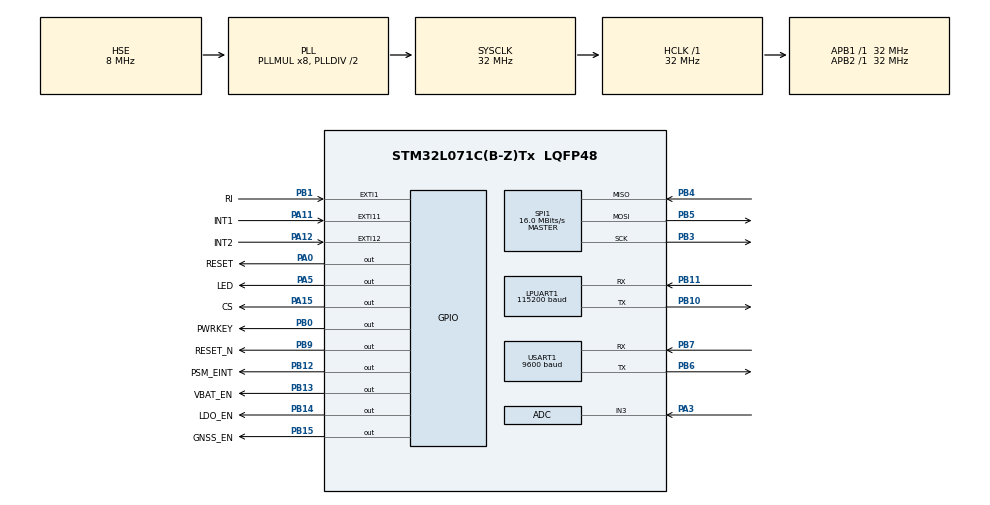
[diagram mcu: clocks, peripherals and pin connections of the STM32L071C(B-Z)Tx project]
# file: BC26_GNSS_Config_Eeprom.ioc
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ADC.ContinuousConvMode=DISABLE
ADC.DMAContinuousRequests=DISABLE
ADC.EOCSelection=ADC_EOC_SINGLE_CONV
ADC.SamplingTime=ADC_SAMPLETIME_160CYCLES_5
Dma.Request0=USART1_RX
Dma.USART1_RX.0.Direction=DMA_PERIPH_TO_MEMORY
Dma.USART1_RX.0.Instance=DMA1_Channel3
Dma.USART1_RX.0.MemDataAlignment=DMA_MDATAALIGN_BYTE
Dma.USART1_RX.0.MemInc=DMA_MINC_ENABLE
Dma.USART1_RX.0.Mode=DMA_CIRCULAR
Dma.USART1_RX.0.PeriphDataAlignment=DMA_PDATAALIGN_BYTE
Dma.USART1_RX.0.PeriphInc=DMA_PINC_DISABLE
Dma.USART1_RX.0.Priority=DMA_PRIORITY_LOW
IWDG.Prescaler=IWDG_PRESCALER_256
LPTIM1.ClockPrescaler=LPTIM_PRESCALER_DIV128
LPUART1.BaudRate=115200
LPUART1.WordLength=UART_WORDLENGTH_8B
Mcu.Family=STM32L0
Mcu.Name=STM32L071C(B-Z)Tx
Mcu.Package=LQFP48
NVIC.ADC1_COMP_IRQn=true\:1\:0\:true\:false\:true\:true\:true
NVIC.DMA1_Channel2_3_IRQn=true\:0\:0\:false\:false\:true\:false\:true
NVIC.EXTI4_15_IRQn=true\:1\:0\:true\:false\:true\:true\:true
NVIC.LPTIM1_IRQn=true\:0\:0\:false\:false\:true\:true\:true
NVIC.LPUART1_IRQn=true\:0\:0\:false\:false\:true\:true\:true
NVIC.RTC_IRQn=true\:2\:0\:true\:false\:true\:true\:true
NVIC.USART1_IRQn=true\:0\:0\:true\:false\:true\:true\:true
PA0.GPIO_Label=RESET
PA0.Signal=GPIO_Output
PA11.GPIO_Label=INT1
PA11.Signal=GPXTI11
PA12.GPIO_Label=INT2
PA12.Signal=GPXTI12
PA13.Mode=Serial_Wire
PA13.Signal=SYS_SWDIO
PA14.Mode=Serial_Wire
PA14.Signal=SYS_SWCLK
PA15.GPIO_Label=CS
PA15.Signal=GPIO_Output
PA3.Mode=IN3
PA3.Signal=ADC_IN3
PA5.GPIO_Label=LED
PA5.Signal=GPIO_Output
PB0.GPIO_Label=PWRKEY
PB0.Signal=GPIO_Output
PB1.GPIO_Label=RI
PB1.Signal=GPXTI1
PB10.Mode=Asynchronous
PB10.Signal=LPUART1_TX
PB11.Mode=Asynchronous
PB11.Signal=LPUART1_RX
PB12.GPIO_Label=PSM_EINT
PB12.Signal=GPIO_Output
PB13.GPIO_Label=VBAT_EN
PB13.Signal=GPIO_Output
PB14.GPIO_Label=LDO_EN
PB14.Signal=GPIO_Output
PB15.GPIO_Label=GNSS_EN
PB15.Signal=GPIO_Output
PB3.Mode=Full_Duplex_Master
PB3.Signal=SPI1_SCK
PB4.Mode=Full_Duplex_Master
PB4.Signal=SPI1_MISO
PB5.Mode=Full_Duplex_Master
PB5.Signal=SPI1_MOSI
PB6.Mode=Asynchronous
PB6.Signal=USART1_TX
PB7.Mode=Asynchronous
PB7.Signal=USART1_RX
PB9.GPIO_Label=RESET_N
PB9.Signal=GPIO_Output
PC14-OSC32_IN.Mode=LSE-External-Oscillator
PC14-OSC32_IN.Signal=RCC_OSC32_IN
PC15-OSC32_OUT.Mode=LSE-External-Oscillator
PC15-OSC32_OUT.Signal=RCC_OSC32_OUT
PH0-OSC_IN.Mode=HSE-External-Oscillator
PH0-OSC_IN.Signal=RCC_OSC_IN
PH1-OSC_OUT.Mode=HSE-External-Oscillator
PH1-OSC_OUT.Signal=RCC_OSC_OUT
ProjectManager.HeapSize=0xC00
ProjectManager.StackSize=0x1000
ProjectManager.TargetToolchain=MDK-ARM V5.27
RCC.AHBFreq_Value=32000000
RCC.APB1Freq_Value=32000000
RCC.APB1TimFreq_Value=32000000
RCC.APB2Freq_Value=32000000
RCC.APB2TimFreq_Value=32000000
RCC.HCLKFreq_Value=32000000
RCC.HSE_VALUE=8000000
RCC.HSI16_VALUE=16000000
RCC.HSI_VALUE=16000000
RCC.LptimClockSelection=RCC_LPTIM1CLKSOURCE_LSE
RCC.MSI_VALUE=2097000
RCC.PLLMUL=RCC_PLLMUL_8
RCC.PLLSourceVirtual=RCC_PLLSOURCE_HSE
RCC.RTCClockSelection=RCC_RTCCLKSOURCE_LSE
RCC.RTCClockSelectionVirtual=RCC_RTCCLKSOURCE_LSE
RCC.SYSCLKFreq_VALUE=32000000
RCC.SYSCLKSource=RCC_SYSCLKSOURCE_PLLCLK
RCC.VCOOutputFreq_Value=64000000
RTC.Format=RTC_FORMAT_BIN
RTC.WakeUpCounter-WakeUp=0x8000
SPI1.BaudRatePrescaler=SPI_BAUDRATEPRESCALER_2
SPI1.CalculateBaudRate=16.0 MBits/s
SPI1.Direction=SPI_DIRECTION_2LINES
SPI1.Mode=SPI_MODE_MASTER
SPI1.VirtualType=VM_MASTER
USART1.AutoBaudRateEnableParam=UART_ADVFEATURE_AUTOBAUDRATE_DISABLE
USART1.BaudRate=9600
USART1.OverrunDisableParam=ADVFEATURE_OVERRUN_ENABLE
USART1.VirtualMode-Asynchronous=VM_ASYNC
VP_IWDG_VS_IWDG.Mode=IWDG_Activate
VP_LPTIM1_VS_LPTIM_counterModeInternalClock.Mode=Counts__internal_clock_event_00
VP_RTC_VS_RTC_Activate.Mode=RTC_Enabled
VP_RTC_VS_RTC_Calendar.Mode=RTC_Calendar
VP_RTC_VS_RTC_WakeUp_intern.Mode=WakeUp
board=custom

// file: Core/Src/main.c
/* USER CODE BEGIN Header */
/**
  ******************************************************************************
  * @file           : main.c
  * @brief          : Main program body
  ******************************************************************************
  * @attention
  *
  * <h2><center>&copy; Copyright (c) 2021 STMicroelectronics.
  * All rights reserved.</center></h2>
  *
  * This software component is licensed by ST under BSD 3-Clause license,
  * the "License"; You may not use this file except in compliance with the
  * License. You may obtain a copy of the License at:
  *                        opensource.org/licenses/BSD-3-Clause
  *
  ******************************************************************************
  */
/* USER CODE END Header */
#include "main.h"
#include "adc.h"
#include "dma.h"
#include "iwdg.h"
#include "lptim.h"
#include "usart.h"
#include "rtc.h"
#include "spi.h"
#include "gpio.h"

/* USER CODE BEGIN Includes */
#include "adxl362.h"
#include "nbiot.h"
#include "gnss.h"
/* USER CODE END Includes */

/* USER CODE BEGIN PV */
uint8_t ErrorIndex;
/* USER CODE END PV */

void SystemClock_Config(void);
/* USER CODE BEGIN PFP */
static void SystemPower_Config(void);
/* USER CODE END PFP */

int main(void)
{

  /* MCU Configuration--------------------------------------------------------*/

  /* Reset of all peripherals, Initializes the Flash interface and the Systick. */
  HAL_Init();

  /* Configure the system clock */
  SystemClock_Config();

  /* Initialize all configured peripherals */
  MX_GPIO_Init();
  MX_DMA_Init();
  MX_LPTIM1_Init();
  MX_LPUART1_UART_Init();
  MX_USART1_UART_Init();
  MX_SPI1_Init();
  MX_IWDG_Init();
  MX_ADC_Init();
  MX_RTC_Init();
  /* USER CODE BEGIN 2 */
	System_Initial();
  /* USER CODE END 2 */

  /* Infinite loop */
  /* USER CODE BEGIN WHILE */
  while (1)
  {
		LL_IWDG_ReloadCounter(IWDG);
		#if (_NBIOT_SET_DEVINFO_USART == 1)
		gps_init(&gps);
    gps_delay(100);
		set_deviceInfo();
		memset(gps.rxBuffer,0,sizeof(gps.rxBuffer));
		gps.rxCounter = 0x00;
		gps.rxIndex = false;
		led_tog();
		#endif
		if (lptim.wakeupIndex == SET)
		{
			if (transProcessNum == 0){
				adc_process();
				gps_process();
			}
			gnss_status.gnss_data_ready = true;
			transProcessNum ++;
			lptim.wakeupIndex = RESET;
		}
		if (freeFallDetection == SET)
		{
			if (transProcessNum == 0){
				adc_process();
				gps_process();
			}
			freefall_status.freefall_data_ready = true;
			transProcessNum ++;
			freeFallDetection = RESET;
		}
		if (lptim.twoHourIndex == SET)
		{
			if (transProcessNum == 0)
				adc_process();
			pregant_status.pregnant_data_ready = true;
			transProcessNum ++;
			lptim.twoHourIndex = RESET;
		}
		LL_IWDG_ReloadCounter(IWDG);
		if (transProcessNum != 0)
			if (nbiot_process() == false)
			{
				nbiot.restart++;
				nbiot_clean();
				nbiot_power(false);
			}
		if (nbiot.restart == 6)
		{
			memset(&gnss_status, 0, sizeof(gnss_status));
			memset(&pregant_status, 0, sizeof(pregant_status));
			memset(&freefall_status, 0, sizeof(freefall_status));
			transProcessNum = 0;
			nbiot_erase();
		}
		if (freefall_status.freefall_trans_success == true)
		{
			memset(&freefall_status, 0, sizeof(freefall_status));
			transProcessNum --;
			if (transProcessNum == 0)
				nbiot_erase();
		}
		if (gnss_status.gnss_trans_success == true)
		{
			memset(&gnss_status, 0, sizeof(gnss_status));
			transProcessNum --;
			if (transProcessNum == 0)
				nbiot_erase();
		}
		if (pregant_status.acc_trans == ((step.acc.accIndex >> 5) + 1))
		{
			memset(&pregant_status, 0, sizeof(pregant_status));
			memset(&step.acc, 0, sizeof(step.acc));
			transProcessNum --;
			if (transProcessNum == 0)
				nbiot_erase();
		}
		if (lptim.twentyMinuteIndex == SET)
		{
			step.stepArray[step.stepStage] = step.stepNum;
/**
	*	for(uint8_t i=0; i < STEP_LOOPNUM; i++)
	*		nbiot_printf("%d ",step.stepArray[i]);
	*	nbiot_printf("\n");
	*	nbiot_printf("step.stepStage = %d\n",step.stepStage);
	*/
			DATAEEPROM_Program((EEPROM_START_ADDR+100+4*step.stepStage), (uint32_t)step.stepArray[step.stepStage]);
			step.stepNum = 0;
			if(step.stepStage == (STEP_LOOPNUM - 1))
				step.stepStage = 0;
			else
				step.stepStage++;
			DATAEEPROM_Program((EEPROM_START_ADDR+244), step.stepStage);
			lptim.twentyMinuteIndex = RESET;
		}
		if (step.stepState == SET)
		{
			ADXL362FifoProcess();
			step.stepState = RESET;
		}
    /* USER CODE END WHILE */

  }
}

void SystemClock_Config(void)
{
  RCC_OscInitTypeDef RCC_OscInitStruct = {0};
  RCC_ClkInitTypeDef RCC_ClkInitStruct = {0};
  RCC_PeriphCLKInitTypeDef PeriphClkInit = {0};

  /** Configure the main internal regulator output voltage
  */
  __HAL_PWR_VOLTAGESCALING_CONFIG(PWR_REGULATOR_VOLTAGE_SCALE1);
  /** Configure LSE Drive Capability
  */
  HAL_PWR_EnableBkUpAccess();
  __HAL_RCC_LSEDRIVE_CONFIG(RCC_LSEDRIVE_LOW);
  /** Initializes the RCC Oscillators according to the specified parameters
  * in the RCC_OscInitTypeDef structure.
  */
  RCC_OscInitStruct.OscillatorType = RCC_OSCILLATORTYPE_LSI|RCC_OSCILLATORTYPE_HSE
                              |RCC_OSCILLATORTYPE_LSE;
  RCC_OscInitStruct.HSEState = RCC_HSE_ON;
  RCC_OscInitStruct.LSEState = RCC_LSE_ON;
  RCC_OscInitStruct.LSIState = RCC_LSI_ON;
  RCC_OscInitStruct.PLL.PLLState = RCC_PLL_ON;
  RCC_OscInitStruct.PLL.PLLSource = RCC_PLLSOURCE_HSE;
  RCC_OscInitStruct.PLL.PLLMUL = RCC_PLLMUL_8;
  RCC_OscInitStruct.PLL.PLLDIV = RCC_PLLDIV_2;
  if (HAL_RCC_OscConfig(&RCC_OscInitStruct) != HAL_OK)
  {
    Error_Handler();
  }
  /** Initializes the CPU, AHB and APB buses clocks
  */
  RCC_ClkInitStruct.ClockType = RCC_CLOCKTYPE_HCLK|RCC_CLOCKTYPE_SYSCLK
                              |RCC_CLOCKTYPE_PCLK1|RCC_CLOCKTYPE_PCLK2;
  RCC_ClkInitStruct.SYSCLKSource = RCC_SYSCLKSOURCE_PLLCLK;
  RCC_ClkInitStruct.AHBCLKDivider = RCC_SYSCLK_DIV1;
  RCC_ClkInitStruct.APB1CLKDivider = RCC_HCLK_DIV1;
  RCC_ClkInitStruct.APB2CLKDivider = RCC_HCLK_DIV1;

  if (HAL_RCC_ClockConfig(&RCC_ClkInitStruct, FLASH_LATENCY_1) != HAL_OK)
  {
    Error_Handler();
  }
  PeriphClkInit.PeriphClockSelection = RCC_PERIPHCLK_USART1|RCC_PERIPHCLK_LPUART1
                              |RCC_PERIPHCLK_RTC|RCC_PERIPHCLK_LPTIM1;
  PeriphClkInit.Usart1ClockSelection = RCC_USART1CLKSOURCE_PCLK2;
  PeriphClkInit.Lpuart1ClockSelection = RCC_LPUART1CLKSOURCE_PCLK1;
  PeriphClkInit.RTCClockSelection = RCC_RTCCLKSOURCE_LSE;
  PeriphClkInit.LptimClockSelection = RCC_LPTIM1CLKSOURCE_LSE;

  if (HAL_RCCEx_PeriphCLKConfig(&PeriphClkInit) != HAL_OK)
  {
    Error_Handler();
  }
}

/* USER CODE BEGIN 4 */
/**
  * @brief  System Power Configuration
  *         The system Power is configured as follow :
  *            + Regulator in LP mode
  *            + VREFINT OFF, with fast wakeup enabled
  *            + HSI as SysClk after Wake Up
  *            + No IWDG
  *            + Automatic Wakeup using RTC clocked by LSI (after ~4s)
  * @param  None
  * @retval None
  */
static void SystemPower_Config(void)
{
	/* Disable Wakeup Counter */
	HAL_RTCEx_DeactivateWakeUpTimer(&hrtc);
	/* ## Setting the Wake up time ############################################*/
	/*  RTC Wakeup Interrupt Generation:
			Wakeup Time Base = (RTC_WAKEUPCLOCK_RTCCLK_DIV /(LSE or LSI))
			Wakeup Time = Wakeup Time Base * WakeUpCounter
			= (RTC_WAKEUPCLOCK_RTCCLK_DIV /(LSE or LSI)) * WakeUpCounter
				==> WakeUpCounter = Wakeup Time / Wakeup Time Base

			To configure the wake up timer to 10s the WakeUpCounter is set to 0x5000 for LSE:
			RTC_WAKEUPCLOCK_RTCCLK_DIV = RTCCLK_Div16 = 16
			Wakeup Time Base = 16 /(32.768KHz) = 0.48828125 ms
			Wakeup Time = 10s = 0.48828125ms  * WakeUpCounter
				==> WakeUpCounter = 10s/0.48828125ms = 20480 = 0x5000 */
	HAL_RTCEx_SetWakeUpTimer_IT(&hrtc, 0x8000, RTC_WAKEUPCLOCK_RTCCLK_DIV16);

  /* Enable Power Control clock */
  __HAL_RCC_PWR_CLK_ENABLE();

  /* Enable Ultra low power mode */
  HAL_PWREx_EnableUltraLowPower();

  /* Enable the fast wake up from Ultra low power mode */
  HAL_PWREx_EnableFastWakeUp();
}

/**
  * @brief System Initial
  * @retval None
*/
void System_Initial(void)
{
	vcc_bc26_power_ctrl(false);
	gps_power(false);
	/*##-1- close ADC peripheral ##*/
	if (HAL_ADC_DeInit(&hadc) != HAL_OK)
  {
    Error_Handler();
  }
	/*##-2- open SPI, initial ADXL362 LPTIM1 peripheral ##*/
	Pregnant_Time_Init();
	WakeUp_Time_Init();
	LPTIM1_Counter_Start_IT();
	Enable_SPI(SPI1);
	ADXL362_Init();
	/*##-3- open LPUART1,enable USART1 and DMA1 */
	gps_usart_init();
	Enable_LPUART1();
	/*##-4- Enable CRC clock */
  __CRC_CLK_ENABLE();
	/*##-5- printf open message,judge ADXL362 stutes ##*/
	Show_Message();
	dmp_mqttTriadsInit();

	/*##-6- initial struct nbiot ##*/
	memset(&gnss_status, 0, sizeof(gnss_status));
	memset(&pregant_status, 0, sizeof(pregant_status));
	memset(&freefall_status, 0, sizeof(freefall_status));
	mqttMessageID = 0;
	if (nbiot_init() == false){
			ErrorIndex = 0x01;
		Error_Handler();
	}

	/*##-7- configure l86 ##*/
	gps_init(&gps);
	memset(&gps_usart_rx_dma_index,0,sizeof(gps_usart_rx_dma_index));
	memset(&gps_valid_data,0,sizeof(gps_valid_data));
	#if (_NBIOT_SET_DEVINFO_USART == 0)
	if (l86_init() == false){
		ErrorIndex = 0x02;
		Error_Handler();
	}
	#endif

	/*##-8- init step struct ##*/
	for(uint8_t i=0; i < STEP_LOOPNUM; i++){
		step.stepArray[i] = (uint16_t)(0x0000FFFF & DATAEEPROM_Read(EEPROM_START_ADDR+100+4*i));
	}
	step.stepStage = (uint8_t)(0x000000FF & DATAEEPROM_Read(EEPROM_START_ADDR+244));

	transProcessNum = 0;
}

/**
  * @brief Show Message
  * @retval None
*/
void Show_Message(void)
{
	unsigned int  ReadValueTemp;
	nbiot_printf("BC26&L86 transfer program \n");
	nbiot_printf("using USART2,configuration:%d 8-N-1 \n",115200);
	nbiot_printf("using 'atc' library\r\n");

//	nbiot_printf("Device_Serial0 : %x\n",(unsigned int)Device_Serial0);
//	nbiot_printf("Device_Serial1 : %x\n",(unsigned int)Device_Serial1);
//	nbiot_printf("Device_Serial2 : %x\n",(unsigned int)Device_Serial2);

	ReadValueTemp = ADXL362RegisterRead(XL362_DEVID_AD);     	//Analog Devices device ID, 0xAD
	if(ReadValueTemp == 0xAD)
	{
		led_on();
		nbiot_delay(500);
	}
	nbiot_printf("Analog Devices device ID: %x\n",ReadValueTemp);	 	//send via UART
	ReadValueTemp = ADXL362RegisterRead(XL362_DEVID_MST);    	//Analog Devices MEMS device ID, 0x1D
	if(ReadValueTemp == 0x1D)
	{
		led_off();
		nbiot_delay(500);
	}
	nbiot_printf("Analog Devices MEMS device ID: %x\n",ReadValueTemp);	//send via UART
	ReadValueTemp = ADXL362RegisterRead(XL362_PARTID);       	//part ID, 0xF2
	if(ReadValueTemp == 0xF2)
	{
		led_on();
		nbiot_delay(500);
	}
	nbiot_printf("Part ID: %x\n",ReadValueTemp);										//send via UART
	ReadValueTemp = ADXL362RegisterRead(XL362_REVID);       	//version ID, 0x02/0x03
	if(ReadValueTemp == 0x02 || ReadValueTemp == 0x03)
	{
		led_off();
	}
	nbiot_printf("Version ID: %x\n",ReadValueTemp);									//send via UART
	nbiot_delay(1000);
}

/**
  * @brief DATAEEPROM WRITE
  * @retval None
*/
void DATAEEPROM_Program(uint32_t Address, uint32_t Data)
{
	/* Unlocks the data memory and FLASH_PECR register access *************/
	if(HAL_FLASHEx_DATAEEPROM_Unlock() != HAL_OK)
	{
    Error_Handler();
	}
	/* Clear FLASH error pending bits */
	__HAL_FLASH_CLEAR_FLAG(FLASH_FLAG_WRPERR | FLASH_FLAG_SIZERR |
							FLASH_FLAG_OPTVERR | FLASH_FLAG_RDERR |
								FLASH_FLAG_FWWERR | FLASH_FLAG_NOTZEROERR);
	/*Erase a word in data memory *************/
	if (HAL_FLASHEx_DATAEEPROM_Erase(Address) != HAL_OK)
	{
		Error_Handler();
	}
	/*Enable DATA EEPROM fixed Time programming (2*Tprog) *************/
	HAL_FLASHEx_DATAEEPROM_EnableFixedTimeProgram();
	/* Program word at a specified address *************/
	if (HAL_FLASHEx_DATAEEPROM_Program(FLASH_TYPEPROGRAMDATA_WORD, Address, Data) != HAL_OK)
	{
		Error_Handler();
	}
	/*Disables DATA EEPROM fixed Time programming (2*Tprog) *************/
	HAL_FLASHEx_DATAEEPROM_DisableFixedTimeProgram();

	/* Locks the Data memory and FLASH_PECR register access. (recommended
     to protect the DATA_EEPROM against possible unwanted operation) *********/
	HAL_FLASHEx_DATAEEPROM_Lock();

}

/**
  * @brief DATAEEPROM READ
  * @retval DATA
*/
uint32_t DATAEEPROM_Read(uint32_t Address)
{
	return *(__IO uint32_t*)Address;
}

/**
  * @brief  SHA256 HMAC compute example.
  * @param  InputMessage: pointer to input message to be hashed.
  * @param  InputMessageLength: input data message length in byte.
  * @param  HMAC_key: pointer to key used in the HMAC computation
  * @param  HMAC_keyLength: HMAC key length in byte.
  * @param  MessageDigest: pointer to output parameter that will handle message digest
  * @param  MessageDigestLength: pointer to output digest length.
  * @retval error status: can be HASH_SUCCESS if success or one of
  *         HASH_ERR_BAD_PARAMETER, HASH_ERR_BAD_CONTEXT,
  *         HASH_ERR_BAD_OPERATION if error occured.
  */
int32_t STM32_SHA256_HMAC_Compute(uint8_t* InputMessage,
                                uint32_t InputMessageLength,
                                uint8_t *HMAC_key,
                                uint32_t HMAC_keyLength,
                                uint8_t *MessageDigest,
                                int32_t* MessageDigestLength)
{
  HMAC_SHA256ctx_stt HMAC_SHA256ctx;
  uint32_t error_status = HASH_SUCCESS;

  /* Set the size of the desired MAC*/
  HMAC_SHA256ctx.mTagSize = CRL_SHA256_SIZE;

  /* Set flag field to default value */
  HMAC_SHA256ctx.mFlags = E_HASH_DEFAULT;

  /* Set the key pointer in the context*/
  HMAC_SHA256ctx.pmKey = HMAC_key;

  /* Set the size of the key */
  HMAC_SHA256ctx.mKeySize = HMAC_keyLength;

  /* Initialize the context */
  error_status = HMAC_SHA256_Init(&HMAC_SHA256ctx);

  /* check for initialization errors */
  if (error_status == HASH_SUCCESS)
  {
    /* Add data to be hashed */
    error_status = HMAC_SHA256_Append(&HMAC_SHA256ctx,
                                    InputMessage,
                                    InputMessageLength);

    if (error_status == HASH_SUCCESS)
    {
      /* retrieve */
      error_status = HMAC_SHA256_Finish(&HMAC_SHA256ctx, MessageDigest, MessageDigestLength);
    }
  }

  return error_status;
}

void double2Bytes(double val,uint8_t* bytes_array){
    // Create union of shared memory space
    union {
        double double_variable;
        uint8_t temp_array[8];
    } u;
    // Overite bytes of union with float variable
    u.double_variable = val;
    // Assign bytes to input array
    memcpy(bytes_array, u.temp_array, 8);
}

void LED_Blinking(uint32_t Period)
{
  /* Toggle LED2 in an infinite loop */
  while (1)
  {
    led_tog();
    nbiot_delay(Period);
  }
}

/* USER CODE END 4 */

void Error_Handler(void)
{
  /* USER CODE BEGIN Error_Handler_Debug */
  /* User can add his own implementation to report the HAL error return state */
	if (ErrorIndex == 0x01 || ErrorIndex == 0x02)
		LED_Blinking(200);
	else
		LED_Blinking(2000);
  __disable_irq();
  while (1)
  {
  }
  /* USER CODE END Error_Handler_Debug */
}

/************************ (C) COPYRIGHT STMicroelectronics *****END OF FILE****/
